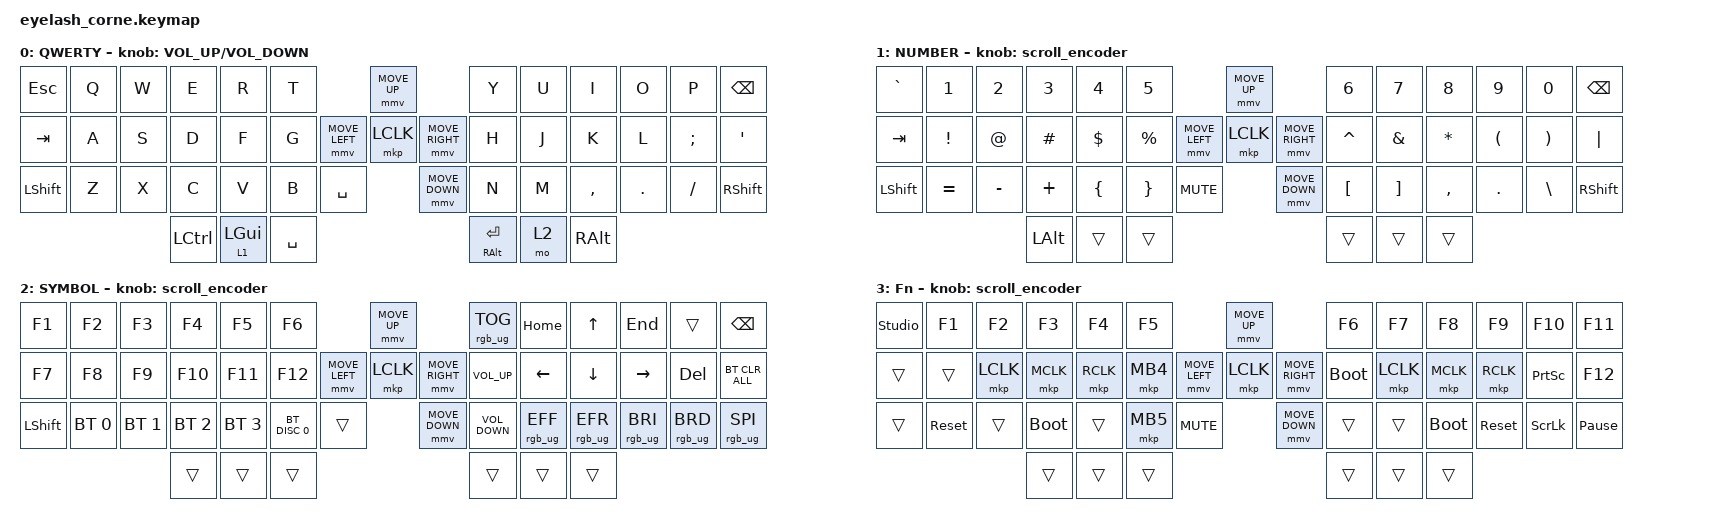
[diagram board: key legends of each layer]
#define ZMK_POINTING_DEFAULT_MOVE_VAL 1200  // 600
#define ZMK_POINTING_DEFAULT_SCRL_VAL 25   // 10

#include <input/processors.dtsi>
#include <zephyr/dt-bindings/input/input-event-codes.h>
#include <behaviors.dtsi>
#include <dt-bindings/zmk/bt.h>
#include <dt-bindings/zmk/keys.h>
#include <dt-bindings/zmk/pointing.h>
#include <dt-bindings/zmk/rgb.h>

&mmv_input_listener { input-processors = <&zip_xy_scaler 2 1>; };

&msc_input_listener { input-processors = <&zip_scroll_scaler 2 1>; };

&msc {
    acceleration-exponent = <1>;      // 0
    time-to-max-speed-ms = <100>;       // 300
    delay-ms = <0>;                   // 0
};

&mmv {
    time-to-max-speed-ms = <500>;
    acceleration-exponent = <1>;
    trigger-period-ms = <16>;
};

/ {
    behaviors {
        td0: td0 {
            compatible = "zmk,behavior-tap-dance";
            display-name = "Shift/Caps Lock Tap Dance";
            #binding-cells = <0>;
            bindings = <&kp LEFT_SHIFT>, <&kp CAPS>;
        };
    };

    rgb_encoder: rgb_encoder {
        compatible = "zmk,behavior-sensor-rotate";
        #sensor-binding-cells = <0>;
        bindings = <&rgb_ug RGB_BRI>, <&rgb_ug RGB_BRD>;
    };

    scroll_encoder: scroll_encoder {
        compatible = "zmk,behavior-sensor-rotate";
        #sensor-binding-cells = <0>;
        bindings = <&msc SCRL_DOWN>, <&msc SCRL_UP>;

        tap-ms = <100>;
    };

    keymap {
        compatible = "zmk,keymap";

        default_layer {
            display-name = "QWERTY";
            bindings = <
&kp ESCAPE      &kp Q  &kp W  &kp E             &kp R           &kp T                                   &mmv MOVE_UP                     &kp Y                &kp U  &kp I      &kp O    &kp P     &kp BSPC
&kp TAB         &kp A  &kp S  &kp D             &kp F           &kp G                   &mmv MOVE_LEFT  &mkp LCLK       &mmv MOVE_RIGHT  &kp H                &kp J  &kp K      &kp L    &kp SEMI  &kp SQT
&kp LEFT_SHIFT  &kp Z  &kp X  &kp C             &kp V           &kp B      &kp SPACE                    &mmv MOVE_DOWN                   &kp N                &kp M  &kp COMMA  &kp DOT  &kp FSLH  &kp RIGHT_SHIFT
                              &kp LEFT_CONTROL  &lt 1 LEFT_GUI  &kp SPACE                                                                &mt RIGHT_ALT ENTER  &mo 2  &kp RALT
            >;

            sensor-bindings = <&inc_dec_kp C_VOLUME_UP C_VOLUME_DOWN>;
        };

        lower_layer {
            display-name = "NUMBER";
            bindings = <
&kp GRAVE       &kp N1           &kp N2       &kp N3        &kp N4          &kp N5                                         &mmv MOVE_UP                     &kp N6            &kp N7             &kp N8        &kp N9                &kp N0                 &kp BSPC
&kp TAB         &kp EXCLAMATION  &kp AT_SIGN  &kp HASH      &kp DOLLAR      &kp PERCENT                    &mmv MOVE_LEFT  &mkp LCLK       &mmv MOVE_RIGHT  &kp CARET         &kp AMPERSAND      &kp ASTERISK  &kp LEFT_PARENTHESIS  &kp RIGHT_PARENTHESIS  &kp PIPE
&kp LEFT_SHIFT  &kp EQUAL        &kp MINUS    &kp PLUS      &kp LEFT_BRACE  &kp RIGHT_BRACE  &kp C_MUTE                    &mmv MOVE_DOWN                   &kp LEFT_BRACKET  &kp RIGHT_BRACKET  &kp COMMA     &kp DOT               &kp BACKSLASH          &kp RIGHT_SHIFT
                                              &kp LEFT_ALT  &trans          &trans                                                                          &trans            &trans             &trans
            >;

            sensor-bindings = <&scroll_encoder>;
        };

        raise_layer {
            display-name = "SYMBOL";
            bindings = <
&kp F1          &kp F2        &kp F3        &kp F4        &kp F5        &kp F6                                   &mmv MOVE_UP                     &rgb_ug RGB_TOG    &kp HOME         &kp UP_ARROW     &kp END          &trans           &kp BSPC
&kp F7          &kp F8        &kp F9        &kp F10       &kp F11       &kp F12                  &mmv MOVE_LEFT  &mkp LCLK       &mmv MOVE_RIGHT  &kp C_VOLUME_UP    &kp LEFT_ARROW   &kp DOWN_ARROW   &kp RIGHT_ARROW  &kp DELETE       &bt BT_CLR_ALL
&kp LEFT_SHIFT  &bt BT_SEL 0  &bt BT_SEL 1  &bt BT_SEL 2  &bt BT_SEL 3  &bt BT_DISC 0  &trans                    &mmv MOVE_DOWN                   &kp C_VOLUME_DOWN  &rgb_ug RGB_EFF  &rgb_ug RGB_EFR  &rgb_ug RGB_BRI  &rgb_ug RGB_BRD  &rgb_ug RGB_SPI
                                            &trans        &trans        &trans                                                                    &trans             &trans           &trans
            >;

            sensor-bindings = <&scroll_encoder>;
        };

        layer_3 {
            display-name = "Fn";
            bindings = <
&studio_unlock  &kp F1      &kp F2     &kp F3       &kp F4     &kp F5                                  &mmv MOVE_UP                     &kp F6       &kp F7     &kp F8       &kp F9      &kp F10          &kp F11
&trans          &trans      &mkp LCLK  &mkp MCLK    &mkp RCLK  &mkp MB4                &mmv MOVE_LEFT  &mkp LCLK       &mmv MOVE_RIGHT  &bootloader  &mkp LCLK  &mkp MCLK    &mkp RCLK   &kp PRINTSCREEN  &kp F12
&trans          &sys_reset  &trans     &bootloader  &trans     &mkp MB5  &kp C_MUTE                    &mmv MOVE_DOWN                   &trans       &trans     &bootloader  &sys_reset  &kp SCROLLLOCK   &kp PAUSE_BREAK
                                       &trans       &trans     &trans                                                                   &trans       &trans     &trans
            >;

            sensor-bindings = <&scroll_encoder>;
        };
    };
};
